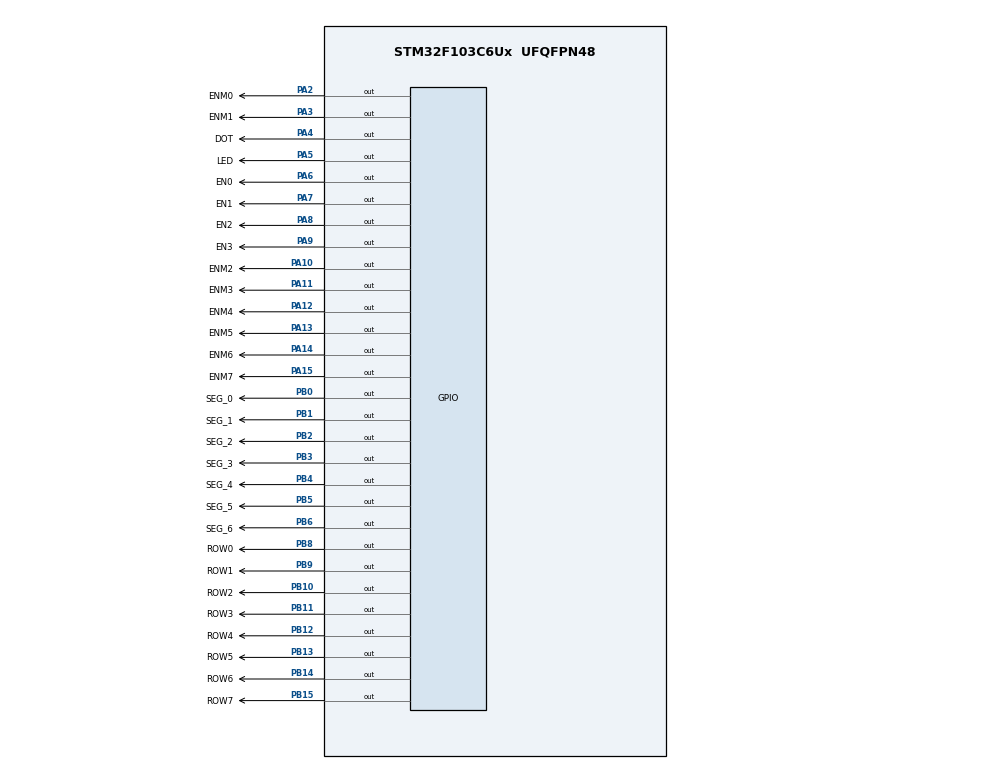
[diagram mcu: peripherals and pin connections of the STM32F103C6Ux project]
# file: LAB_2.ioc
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Mcu.Family=STM32F1
Mcu.Name=STM32F103C6Ux
Mcu.Package=UFQFPN48
NVIC.PriorityGroup=NVIC_PRIORITYGROUP_4
NVIC.TIM2_IRQn=true\:0\:0\:false\:false\:true\:true\:true
PA10.GPIO_Label=ENM2
PA10.Signal=GPIO_Output
PA11.GPIO_Label=ENM3
PA11.Signal=GPIO_Output
PA12.GPIO_Label=ENM4
PA12.Signal=GPIO_Output
PA13.GPIO_Label=ENM5
PA13.Signal=GPIO_Output
PA14.GPIO_Label=ENM6
PA14.Signal=GPIO_Output
PA15.GPIO_Label=ENM7
PA15.Signal=GPIO_Output
PA2.GPIO_Label=ENM0
PA2.Signal=GPIO_Output
PA3.GPIO_Label=ENM1
PA3.Signal=GPIO_Output
PA4.GPIO_Label=DOT
PA4.Signal=GPIO_Output
PA5.GPIO_Label=LED
PA5.Signal=GPIO_Output
PA6.GPIO_Label=EN0
PA6.Signal=GPIO_Output
PA7.GPIO_Label=EN1
PA7.Signal=GPIO_Output
PA8.GPIO_Label=EN2
PA8.Signal=GPIO_Output
PA9.GPIO_Label=EN3
PA9.Signal=GPIO_Output
PB0.GPIO_Label=SEG_0
PB0.Signal=GPIO_Output
PB1.GPIO_Label=SEG_1
PB1.Signal=GPIO_Output
PB10.GPIO_Label=ROW2
PB10.Signal=GPIO_Output
PB11.GPIO_Label=ROW3
PB11.Signal=GPIO_Output
PB12.GPIO_Label=ROW4
PB12.Signal=GPIO_Output
PB13.GPIO_Label=ROW5
PB13.Signal=GPIO_Output
PB14.GPIO_Label=ROW6
PB14.Signal=GPIO_Output
PB15.GPIO_Label=ROW7
PB15.Signal=GPIO_Output
PB2.GPIO_Label=SEG_2
PB2.Signal=GPIO_Output
PB3.GPIO_Label=SEG_3
PB3.Signal=GPIO_Output
PB4.GPIO_Label=SEG_4
PB4.Signal=GPIO_Output
PB5.GPIO_Label=SEG_5
PB5.Signal=GPIO_Output
PB6.GPIO_Label=SEG_6
PB6.Signal=GPIO_Output
PB8.GPIO_Label=ROW0
PB8.Signal=GPIO_Output
PB9.GPIO_Label=ROW1
PB9.Signal=GPIO_Output
ProjectManager.HeapSize=0x200
ProjectManager.StackSize=0x400
ProjectManager.TargetToolchain=STM32CubeIDE
RCC.APB1Freq_Value=8000000
RCC.APB2Freq_Value=8000000
TIM2.Period=9
TIM2.Prescaler=7999
VP_SYS_VS_ND.Mode=No_Debug
VP_TIM2_VS_ClockSourceINT.Mode=Internal
board=custom

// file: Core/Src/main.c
/* USER CODE BEGIN Header */
/**
  ******************************************************************************
  * @file           : main.c
  * @brief          : Main program body
  ******************************************************************************
  * @attention
  *
  * <h2><center>&copy; Copyright (c) 2025 STMicroelectronics.
  * All rights reserved.</center></h2>
  *
  * This software component is licensed by ST under BSD 3-Clause license,
  * the "License"; You may not use this file except in compliance with the
  * License. You may obtain a copy of the License at:
  *                        opensource.org/licenses/BSD-3-Clause
  *
  ******************************************************************************
  */
/* USER CODE END Header */
#include "main.h"

/* USER CODE BEGIN Includes */
#include "software.h"
#include "display7Seg.h"
#include "exercise1.h"
#include "exercise2.h"
#include "exercise3.h"
#include "exercise5.h"
#include "exercise9.h"
#include "exercise10.h"
/* USER CODE END Includes */

TIM_HandleTypeDef htim2;

void SystemClock_Config(void);
static void MX_GPIO_Init(void);
static void MX_TIM2_Init(void);

int main(void)
{

  /* MCU Configuration--------------------------------------------------------*/

  /* Reset of all peripherals, Initializes the Flash interface and the Systick. */
  HAL_Init();

  /* Configure the system clock */
  SystemClock_Config();

  /* Initialize all configured peripherals */
  MX_GPIO_Init();
  MX_TIM2_Init();
  /* USER CODE BEGIN 2 */
  HAL_TIM_Base_Start_IT(&htim2);
  /* USER CODE END 2 */

  /* Infinite loop */
  /* USER CODE BEGIN WHILE */

  setTimer(0, 100);
  setTimer(1, 50); // Exercise 1, 2, 3
  setTimer(2, 25); // Exercise 4, 5
  setTimer(3, 1); // Exercise 9
  setTimer(4, 10); // Exercise 10

  while (1)
  {
	  if (timer_flag[0] == 1){
	  		  timer_flag[0] = 0;
	  		  setTimer(0, 100);
	  		  HAL_GPIO_TogglePin(LED_GPIO_Port, LED_Pin);
	  		  HAL_GPIO_TogglePin(DOT_GPIO_Port, DOT_Pin);
	  	  }

	  	  // for Exercise 1, 2, 3, 4
	  	 /*if (timer_flag[1] == 1){	// change flag to 2 with exercise 4
	  		  timer_flag[1] = 0;
	  		  setTimer(1, 50); // for Exercise 1, 2, 3
	  		  //setTimer(2, 25); // Exercise 4
	  		  //twoLed();	// Exercise 1
	  		  //fourLed();	// Exercise 2
	  		  //update7SEG((index_led++) - 1); // Exercise 3, 4
	  	  }*/

//============================================================
	  // for exercise 5
	  /*if (timer_flag[2] == 1){
	  	  timer_flag[2] = 0;
	  	  setTimer(2, 25);
	  	  update7SEG((index_led++) - 1);
	  }

	  if (timer_flag[0] == 1){
	  	  timer_flag[0] = 0;
	  	  setTimer(0, 100);
	  	  second++;
	  	  if (second >= 60){
	  		  second = 0;
	  		  minute++;
	  	  }

	  	  if (minute >= 60){
	  		  minute = 0;
	  		  hour++;
	  	  }
	  	  if (hour >= 24) hour = 0;

	  	  updateClockBuffer();
	  }*/

//============================================================
	  	 // for Exercise 9 and 10
	  	if (timer_flag[3] == 1){
	  			  timer_flag[3] = 0;
	  			  setTimer(3, 1);

	  			  updateLEDMatrix(index_led_matrix);
	  			  index_led_matrix = (index_led_matrix + 1) & 0x07;
	  		  }

	  	if (timer_flag[4] == 1) {
	  		      timer_flag[4] = 0;
	  		      setTimer(4, 10);     // 100 ms/frame

	  		      LEDanimation();
	  		  }

//============================================================

	  	  //  HAL_Delay(1000); // Only use for exercise 5

    /* USER CODE END WHILE */

  }
}

void SystemClock_Config(void)
{
  RCC_OscInitTypeDef RCC_OscInitStruct = {0};
  RCC_ClkInitTypeDef RCC_ClkInitStruct = {0};

  /** Initializes the RCC Oscillators according to the specified parameters
  * in the RCC_OscInitTypeDef structure.
  */
  RCC_OscInitStruct.OscillatorType = RCC_OSCILLATORTYPE_HSI;
  RCC_OscInitStruct.HSIState = RCC_HSI_ON;
  RCC_OscInitStruct.HSICalibrationValue = RCC_HSICALIBRATION_DEFAULT;
  RCC_OscInitStruct.PLL.PLLState = RCC_PLL_NONE;
  if (HAL_RCC_OscConfig(&RCC_OscInitStruct) != HAL_OK)
  {
    Error_Handler();
  }
  /** Initializes the CPU, AHB and APB buses clocks
  */
  RCC_ClkInitStruct.ClockType = RCC_CLOCKTYPE_HCLK|RCC_CLOCKTYPE_SYSCLK
                              |RCC_CLOCKTYPE_PCLK1|RCC_CLOCKTYPE_PCLK2;
  RCC_ClkInitStruct.SYSCLKSource = RCC_SYSCLKSOURCE_HSI;
  RCC_ClkInitStruct.AHBCLKDivider = RCC_SYSCLK_DIV1;
  RCC_ClkInitStruct.APB1CLKDivider = RCC_HCLK_DIV1;
  RCC_ClkInitStruct.APB2CLKDivider = RCC_HCLK_DIV1;

  if (HAL_RCC_ClockConfig(&RCC_ClkInitStruct, FLASH_LATENCY_0) != HAL_OK)
  {
    Error_Handler();
  }
}

static void MX_TIM2_Init(void)
{

  TIM_ClockConfigTypeDef sClockSourceConfig = {0};
  TIM_MasterConfigTypeDef sMasterConfig = {0};

  htim2.Instance = TIM2;
  htim2.Init.Prescaler = 7999;
  htim2.Init.CounterMode = TIM_COUNTERMODE_UP;
  htim2.Init.Period = 9;
  htim2.Init.ClockDivision = TIM_CLOCKDIVISION_DIV1;
  htim2.Init.AutoReloadPreload = TIM_AUTORELOAD_PRELOAD_DISABLE;
  if (HAL_TIM_Base_Init(&htim2) != HAL_OK)
  {
    Error_Handler();
  }
  sClockSourceConfig.ClockSource = TIM_CLOCKSOURCE_INTERNAL;
  if (HAL_TIM_ConfigClockSource(&htim2, &sClockSourceConfig) != HAL_OK)
  {
    Error_Handler();
  }
  sMasterConfig.MasterOutputTrigger = TIM_TRGO_RESET;
  sMasterConfig.MasterSlaveMode = TIM_MASTERSLAVEMODE_DISABLE;
  if (HAL_TIMEx_MasterConfigSynchronization(&htim2, &sMasterConfig) != HAL_OK)
  {
    Error_Handler();
  }

}

static void MX_GPIO_Init(void)
{
  GPIO_InitTypeDef GPIO_InitStruct = {0};

  /* GPIO Ports Clock Enable */
  __HAL_RCC_GPIOA_CLK_ENABLE();
  __HAL_RCC_GPIOB_CLK_ENABLE();

  /*Configure GPIO pin Output Level */
  HAL_GPIO_WritePin(GPIOA, ENM0_Pin|ENM1_Pin|DOT_Pin|LED_Pin
                          |EN0_Pin|EN1_Pin|EN2_Pin|EN3_Pin
                          |ENM2_Pin|ENM3_Pin|ENM4_Pin|ENM5_Pin
                          |ENM6_Pin|ENM7_Pin, GPIO_PIN_RESET);

  /*Configure GPIO pin Output Level */
  HAL_GPIO_WritePin(GPIOB, SEG_0_Pin|SEG_1_Pin|SEG_2_Pin|ROW2_Pin
                          |ROW3_Pin|ROW4_Pin|ROW5_Pin|ROW6_Pin
                          |ROW7_Pin|SEG_3_Pin|SEG_4_Pin|SEG_5_Pin
                          |SEG_6_Pin|ROW0_Pin|ROW1_Pin, GPIO_PIN_RESET);

  /*Configure GPIO pins : ENM0_Pin ENM1_Pin DOT_Pin LED_Pin
                           EN0_Pin EN1_Pin EN2_Pin EN3_Pin
                           ENM2_Pin ENM3_Pin ENM4_Pin ENM5_Pin
                           ENM6_Pin ENM7_Pin */
  GPIO_InitStruct.Pin = ENM0_Pin|ENM1_Pin|DOT_Pin|LED_Pin
                          |EN0_Pin|EN1_Pin|EN2_Pin|EN3_Pin
                          |ENM2_Pin|ENM3_Pin|ENM4_Pin|ENM5_Pin
                          |ENM6_Pin|ENM7_Pin;
  GPIO_InitStruct.Mode = GPIO_MODE_OUTPUT_PP;
  GPIO_InitStruct.Pull = GPIO_NOPULL;
  GPIO_InitStruct.Speed = GPIO_SPEED_FREQ_LOW;
  HAL_GPIO_Init(GPIOA, &GPIO_InitStruct);

  /*Configure GPIO pins : SEG_0_Pin SEG_1_Pin SEG_2_Pin ROW2_Pin
                           ROW3_Pin ROW4_Pin ROW5_Pin ROW6_Pin
                           ROW7_Pin SEG_3_Pin SEG_4_Pin SEG_5_Pin
                           SEG_6_Pin ROW0_Pin ROW1_Pin */
  GPIO_InitStruct.Pin = SEG_0_Pin|SEG_1_Pin|SEG_2_Pin|ROW2_Pin
                          |ROW3_Pin|ROW4_Pin|ROW5_Pin|ROW6_Pin
                          |ROW7_Pin|SEG_3_Pin|SEG_4_Pin|SEG_5_Pin
                          |SEG_6_Pin|ROW0_Pin|ROW1_Pin;
  GPIO_InitStruct.Mode = GPIO_MODE_OUTPUT_PP;
  GPIO_InitStruct.Pull = GPIO_NOPULL;
  GPIO_InitStruct.Speed = GPIO_SPEED_FREQ_LOW;
  HAL_GPIO_Init(GPIOB, &GPIO_InitStruct);

}

/* USER CODE BEGIN 4 */
void HAL_TIM_PeriodElapsedCallback (TIM_HandleTypeDef * htim) {
	if (htim->Instance == TIM2){
		timerRun();
	}
}
/* USER CODE END 4 */

void Error_Handler(void)
{
  __disable_irq();
  while (1)
  {
  }
}

/************************ (C) COPYRIGHT STMicroelectronics *****END OF FILE****/
